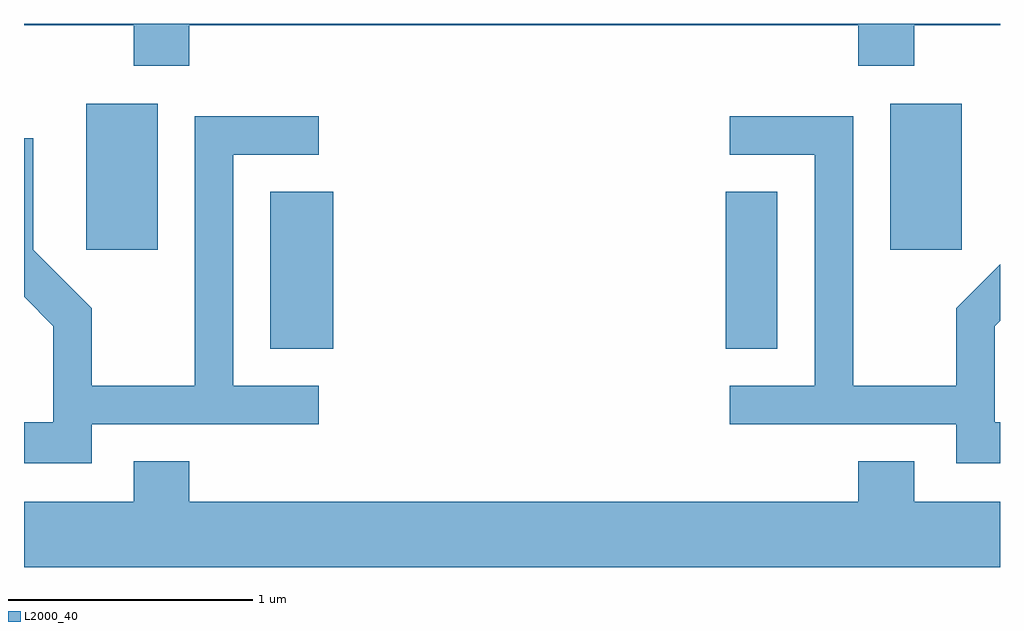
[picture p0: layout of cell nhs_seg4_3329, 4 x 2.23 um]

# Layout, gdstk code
import gdstk
lib = gdstk.Library(unit=1e-6, precision=1e-09)
def R(c, l, rs):  # rectangles x0, y0, x1, y1
    for r in rs: c.add(gdstk.rectangle(r[:2], r[2:], *l))
def P(c, l, *ps):  # polygons
    for p in ps: c.add(gdstk.Polygon(p, *l))
L2000_40 = (2000, 40)

nhs_seg4_3329 = lib.new_cell('nhs_seg4_3329')
R(nhs_seg4_3329, L2000_40, [(282.621,1386.651,282.879,1387.294), (284.486,1386.651,284.699,1387.294), (281.866,1387.056,282.159,1387.654), (285.161,1387.056,285.454,1387.654)])
P(nhs_seg4_3329, L2000_40, [(282.289,1387.976),(285.031,1387.976),(285.031,1387.811),(285.259,1387.811),(285.259,1387.976),(285.611,1387.976),(285.611,1387.982),(281.611,1387.982),(281.611,1387.976),(282.061,1387.976),(282.061,1387.811),(282.289,1387.811)],
  [(281.889,1386.341),(282.818,1386.341),(282.818,1386.499),(282.469,1386.499),(282.469,1387.446),(282.818,1387.446),(282.818,1387.604),(282.311,1387.604),(282.311,1386.499),(281.889,1386.499),(281.889,1386.817),(281.649,1387.057),(281.649,1387.513),(281.611,1387.513),(281.611,1386.864),(281.731,1386.744),(281.731,1386.349),(281.611,1386.349),(281.611,1386.181),(281.889,1386.181)],
  [(285.611,1386.349),(285.589,1386.349),(285.589,1386.744),(285.611,1386.766),(285.611,1386.997),(285.431,1386.817),(285.431,1386.499),(285.009,1386.499),(285.009,1387.604),(284.503,1387.604),(284.503,1387.446),(284.851,1387.446),(284.851,1386.499),(284.503,1386.499),(284.503,1386.341),(285.431,1386.341),(285.431,1386.181),(285.611,1386.181)],
  [(285.611,1386.024),(285.259,1386.024),(285.259,1386.189),(285.031,1386.189),(285.031,1386.024),(282.289,1386.024),(282.289,1386.189),(282.061,1386.189),(282.061,1386.024),(281.611,1386.024),(281.611,1385.756),(285.611,1385.756)])

lib.write_gds('nhs_seg4_3329.gds')
